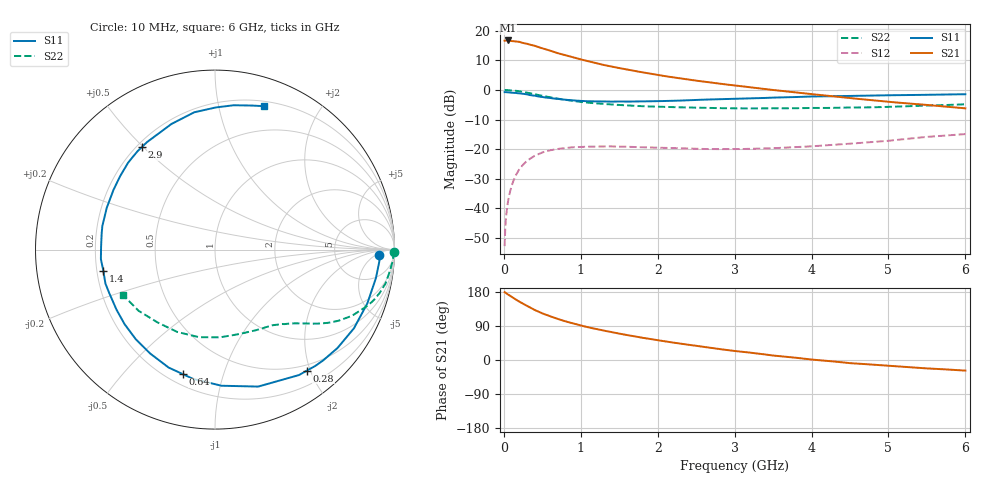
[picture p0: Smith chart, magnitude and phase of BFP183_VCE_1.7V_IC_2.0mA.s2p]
! Infineon Technologies  Discrete & RF Semiconductors
! BFP183
! VCE = 1.7 V,  IC =  2.0 mA
! Common Emitter S-Parameters:  Jan 2016
# GHz  S  MA  R  50
!  f  S11  S21  S12  S22
! GHz  MAG  ANG  MAG  ANG  MAG  ANG  MAG  ANG
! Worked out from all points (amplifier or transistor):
!   210 points, 10 MHz to 6 GHz, reference 50 ohm
!   highest |S21| = 16.7 dB at 50 MHz (marker M1)
!   |S21| within 3 dB of that: start of sweep to 544.3 MHz
!   unconditionally stable (mu >= 1): 2.052 GHz to end of sweep
!   at 185 MHz: K = 0.10, MSG = 21.9 dB, |S12| = -27.5 dB
!   at 1.52 GHz: K = 0.73, MSG = 13.2 dB, |S12| = -19.2 dB
!   at 6 GHz: K = 1.01, MAG = 3.8 dB, |S12| = -14.9 dB
!   S11 on the Smith chart (normalised r, x): 10 MHz: 20, -7; 280 MHz: 0.41, -1.95; 640 MHz: 0.26, -0.74; 1.4 GHz: 0.23, -0.09; 2.9 GHz: 0.22, +0.50; 6 GHz: 0.25, +1.37
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0.01  0.9157 -1.9  6.767 179.0  0.0023 85.0  0.9985 -0.7
0.025  0.9162 -5.0  6.793 177.1  0.0062 86.0  0.9954 -2.0
0.05  0.9106 -10.0  6.829 173.4  0.0121 86.4  0.9915 -3.8
0.105  0.8978 -20.4  6.66 166.3  0.0247 77.9  0.9784 -8.0
0.195  0.8759 -37.9  6.486 154.7  0.0442 68.9  0.9506 -14.4
0.28  0.8469 -52.7  6.069 145.2  0.0599 60.7  0.9102 -19.6
0.4  0.8002 -72.5  5.562 132.1  0.077 50.8  0.8474 -25.8
0.5  0.7593 -87.3  5.032 123.0  0.0878 43.5  0.7947 -29.9
0.64  0.717 -104.3  4.426 112.8  0.0976 35.8  0.735 -33.9
0.7  0.706 -111.5  4.17 108.4  0.1009 32.8  0.7116 -35.4
0.8  0.6824 -122.0  3.867 101.9  0.1043 28.9  0.6791 -37.4
1.02  0.6499 -142.1  3.221 90.1  0.1089 21.7  0.6218 -41.4
1.2  0.6374 -156.2  2.818 81.8  0.1106 17.1  0.5921 -44.1
1.4  0.6332 -169.3  2.471 73.6  0.1111 13.7  0.5685 -46.9
1.7  0.6373 173.0  2.086 62.3  0.1084 10.6  0.5372 -51.4
2.02  0.6467 158.1  1.764 51.6  0.1055 9.0  0.5183 -56.1
2.4  0.6683 142.3  1.492 40.2  0.1022 8.7  0.504 -63.0
2.9  0.7019 125.4  1.23 26.4  0.0998 11.5  0.4898 -73.1
3.1  0.7119 119.6  1.147 21.7  0.1004 13.0  0.4871 -77.6
4.1  0.7758 96.8  0.823 -0.5  0.1138 20.6  0.4952 -103.2
5.1  0.8133 81.3  0.613 -16.6  0.1428 23.9  0.5202 -130.9
6  0.8448 71.0  0.488 -28.0  0.1794 18.9  0.572 -153.9
